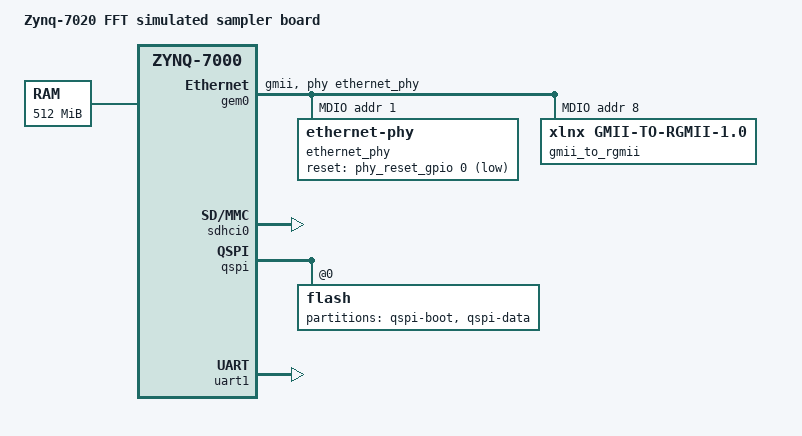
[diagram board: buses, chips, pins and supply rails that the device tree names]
/dts-v1/;

// Reuse the proven ZC702 peripheral routing, then override the board-specific
// memory size and add the PL DMA interface generated by this project.
#include "xilinx/zynq-zc702.dts"
#include <dt-bindings/gpio/gpio.h>

/ {
	model = "Zynq-7020 FFT simulated sampler board";
	compatible = "xlnx,zynq-7020-fft", "xlnx,zynq-7000";

	chosen {
		bootargs = "console=ttyPS1,115200 root=/dev/mmcblk0p2 rootwait rw";
		stdout-path = "serial1:115200n8";
	};

	memory@0 {
		device_type = "memory";
		reg = <0x00000000 0x20000000>;
	};

	axi_dma_fft: dma-controller@40400000 {
		compatible = "xlnx,axi-dma-1.00.a";
		reg = <0x40400000 0x10000>;
		#dma-cells = <1>;
		#address-cells = <1>;
		#size-cells = <1>;
		dma-ranges = <0x0 0x0 0x20000000>;
		clocks = <&clkc 15>, <&clkc 15>, <&clkc 15>, <&clkc 15>;
		clock-names = "s_axi_lite_aclk", "m_axi_mm2s_aclk",
			      "m_axi_s2mm_aclk", "m_axi_sg_aclk";
		xlnx,addrwidth = <32>;
		xlnx,sg-length-width = <23>;

		dma-channel-s2mm {
			compatible = "xlnx,axi-dma-s2mm-channel";
			interrupt-parent = <&intc>;
			interrupts = <0 29 4>;
			xlnx,datawidth = <32>;
			xlnx,include-dre;
		};
	};

	fft_dma: fft-dmaengine@41200000 {
		compatible = "bghjn,zynq7020-fft-dmaengine-2.0";
		reg = <0x41200000 0x1000>;
		reg-names = "capture";
		/* Xilinx AXI DMA assigns S2MM to client channel 1. */
		dmas = <&axi_dma_fft 1>;
		dma-names = "rx";
	};

	phy_reset_gpio: gpio@41210000 {
		compatible = "xlnx,xps-gpio-1.00.a";
		reg = <0x41210000 0x10000>;
		clocks = <&clkc 15>;
		gpio-controller;
		#gpio-cells = <2>;
		xlnx,all-inputs = <0>;
		xlnx,all-outputs = <1>;
		xlnx,dout-default = <0>;
		xlnx,gpio-width = <1>;
		xlnx,interrupt-present = <0>;
		xlnx,is-dual = <0>;
		xlnx,tri-default = <0>;
	};
};

&gem0 {
	/delete-property/ pinctrl-names;
	/delete-property/ pinctrl-0;
	/delete-property/ phy-reset-gpio;
	/delete-property/ phy-reset-active-low;
	status = "okay";
	phy-mode = "gmii";
	phy-handle = <&ethernet_phy>;

	/delete-node/ ethernet-phy@7;

	mdio {
		#address-cells = <1>;
		#size-cells = <0>;

		ethernet_phy: ethernet-phy@1 {
			reg = <1>;
			reset-gpios = <&phy_reset_gpio 0 GPIO_ACTIVE_LOW>;
			reset-assert-us = <10000>;
			reset-deassert-us = <50000>;
		};

		gmii_to_rgmii: gmii-to-rgmii@8 {
			compatible = "xlnx,gmii-to-rgmii-1.0";
			reg = <8>;
			phy-handle = <&ethernet_phy>;
			clocks = <&clkc 16>;
		};
	};
};

&gem1 {
	status = "disabled";
};

&sdhci0 {
	status = "okay";
	/* This board's MIO47 card-detect polarity differs from the ZC702 base DT. */
	broken-cd;
	disable-wp;
};

&qspi {
	status = "okay";

	flash@0 {
		/delete-node/ partitions;

		partitions {
			compatible = "fixed-partitions";
			#address-cells = <1>;
			#size-cells = <1>;

			qspi_boot: partition@0 {
				label = "qspi-boot";
				reg = <0x00000000 0x00600000>;
			};

			qspi_data: partition@600000 {
				label = "qspi-data";
				reg = <0x00600000 0x01a00000>;
			};
		};
	};
};

&uart1 {
	status = "okay";
};
